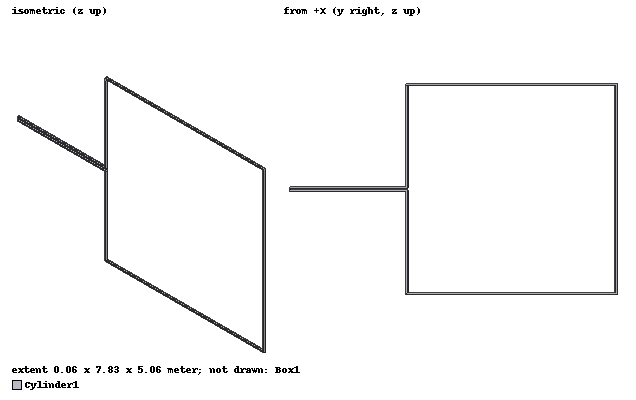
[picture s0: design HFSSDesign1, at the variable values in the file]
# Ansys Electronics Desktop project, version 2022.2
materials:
  vacuum: permittivity=1
  pec: conductivity=1e+30
  air: permittivity=1.0006 permeability=1.0000004

design HFSSDesign1 (HFSS, DrivenModal, model units meter)
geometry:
  Cylinder1 [pec] = cylinder(axis=Z, base_centre=(0meter, 0meter, 0.04meter), radius=0.03meter, height=2.46meter)
  Cylinder1_1 = Cylinder1.duplicate_around_axis(axis=Y, angle=180deg, total=2)
  Cylinder2 = cylinder(axis=Z, base_centre=(0meter, 5meter, 2.5meter), radius=0.03meter, height=-5meter)
  Cylinder3 = cylinder(axis=Y, base_centre=(0meter, 5meter, 2.5meter), radius=0.03meter, height=-5meter)
  Cylinder4 = cylinder(axis=Y, base_centre=(0meter, 5meter, -2.5meter), radius=0.03meter, height=-5meter)
  Cylinder5 = cylinder(axis=Y, base_centre=(0meter, 0meter, 0.04meter), radius=0.03meter, height=-2.8meter)
  Cylinder6 = cylinder(axis=Y, base_centre=(0meter, 0meter, -0.04meter), radius=0.03meter, height=-2.8meter)
  Sphere1 = sphere(centre=(0meter, 0meter, 0.04meter), radius=0.03meter)
  Sphere2 = sphere(centre=(0meter, 0meter, -0.04meter), radius=0.03meter)
  Sphere3 = sphere(centre=(0meter, 0meter, 2.5meter), radius=0.03meter)
  Sphere4 = sphere(centre=(0meter, 5meter, 2.5meter), radius=0.03meter)
  Sphere5 = sphere(centre=(0meter, 5meter, -2.5meter), radius=0.03meter)
  Sphere6 = sphere(centre=(0meter, 0meter, -2.5meter), radius=0.03meter)
  Cylinder1.unite(Cylinder1_1, Cylinder2..Cylinder6, Sphere1..Sphere6)
  Rectangle1 [pec] = rectangle(corner=(0meter, -2.8meter, 0.01meter), y_size=0.028meter, z_size=-0.02meter)
  Box1 [air] = box(corner=(-3meter, -4.2meter, -4.5meter), size=(6meter, 9.8meter, 10meter))
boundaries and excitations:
  Rad1: Radiation Objects=Box1
  1: Lumped Port Objects=Rectangle1 Modes{Mode1{IntLine{(0, -2.786, -0.01) -> (0, -2.786, 0.01)} CharImp=Zpi RenormImp=50ohm}} Impedance=50ohm
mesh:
  initial mesh: GlobalSurfApproximation{CurvedSurfaceApproxChoice=UseSlider SliderMeshSettings=1}
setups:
  Setup1: HfssDriven Frequency=15MHz MaxDeltaS=0.02 MaximumPasses=15 MinimumPasses=1 MinimumConvergedPasses=1 PercentRefinement=30 BasisOrder=1 PortAccuracy=2 DrivenSolverType="Direct Solver"
    sweep Sweep: 1MHz to 30MHz step 0.1MHz; Type=Fast SaveFields
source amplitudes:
  1:1: 1W 0deg
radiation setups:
  Infinite Sphere1: Infinite Sphere Theta=0deg..180deg step 10deg Phi=0deg..360deg step 10deg
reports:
  S Parameter Plot 1: dB(S(1,1)) vs Freq on Setup1 : Sweep
  Gain Plot 1: dB(GainTotal) vs Phi, Theta on Setup1 : LastAdaptive, Infinite Sphere1 [Freq=0.015GHz]
  S Parameter Plot 2: dB(S(1,1)) vs Freq on Setup1 : Sweep
